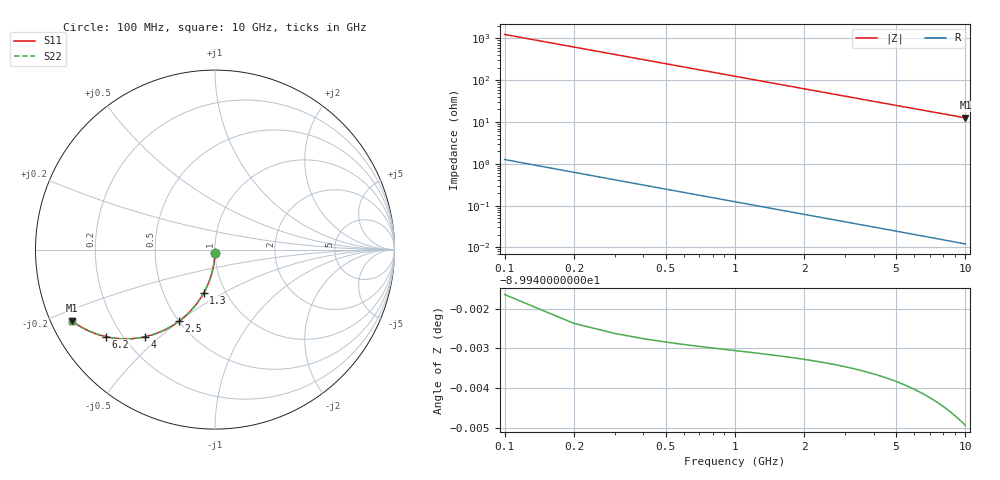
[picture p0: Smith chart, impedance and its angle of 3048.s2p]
# Hz S RI R 50.00
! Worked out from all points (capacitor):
!   100 points, 100 MHz to 10 GHz, reference 50 ohm
!   read as one part in shunt: C = 1.28 pF near 100 MHz
!   lowest |Z| = 12.6 ohm at 10 GHz (marker M1)
!   S11 on the Smith chart (normalised r, x): 100 MHz: 1.00, -0.04; 1.3 GHz: 0.79, -0.41; 2.5 GHz: 0.50, -0.50; 4 GHz: 0.28, -0.45; 6.2 GHz: 0.14, -0.34; 10 GHz: 0.06, -0.23
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1e8  -0.000405 -0.02  0.9996 -0.0201  0.9996 -0.0201  -0.000405 -0.02
2e8  -0.00163 -0.04  0.9983 -0.0402  0.9983 -0.0402  -0.00163 -0.04
3e8  -0.00365 -0.0599  0.9963 -0.0601  0.9963 -0.0601  -0.00365 -0.0599
4e8  -0.00646 -0.0796  0.9935 -0.0799  0.9935 -0.0799  -0.00646 -0.0796
5e8  -0.01 -0.0991  0.9899 -0.0995  0.9899 -0.0995  -0.01 -0.0991
6e8  -0.0144 -0.1184  0.9856 -0.1189  0.9856 -0.1189  -0.0144 -0.1184
8e8  -0.0253 -0.1561  0.9747 -0.1568  0.9747 -0.1568  -0.0253 -0.1561
1e9  -0.0389 -0.1924  0.9611 -0.1932  0.9611 -0.1932  -0.0389 -0.1924
1.3e9  -0.0639 -0.2435  0.9361 -0.2446  0.9361 -0.2446  -0.0639 -0.2435
1.5e9  -0.0832 -0.2751  0.9167 -0.2764  0.9167 -0.2764  -0.0832 -0.2751
1.8e9  -0.1155 -0.3184  0.8844 -0.32  0.8844 -0.32  -0.1155 -0.3184
2.1e9  -0.1509 -0.3565  0.8491 -0.3583  0.8491 -0.3583  -0.1509 -0.3565
2.5e9  -0.201 -0.3992  0.799 -0.4014  0.799 -0.4014  -0.201 -0.3992
2.9e9  -0.2527 -0.4328  0.7472 -0.4354  0.7472 -0.4354  -0.2527 -0.4328
3.4e9  -0.3172 -0.4634  0.6828 -0.4664  0.6828 -0.4664  -0.3172 -0.4634
4e9  -0.3911 -0.4857  0.6089 -0.4892  0.6089 -0.4892  -0.3911 -0.4857
5.1e9  -0.5103 -0.4972  0.4897 -0.5016  0.4897 -0.5016  -0.5103 -0.4972
6.2e9  -0.6059 -0.4854  0.394 -0.4909  0.394 -0.4909  -0.6059 -0.4854
6.7e9  -0.6421 -0.4759  0.3578 -0.4818  0.3578 -0.4818  -0.6421 -0.4759
7.5e9  -0.6919 -0.4579  0.308 -0.4645  0.308 -0.4645  -0.6919 -0.4579
8.4e9  -0.7378 -0.4356  0.2621 -0.443  0.2621 -0.443  -0.7378 -0.4356
1e10  -0.7993 -0.3955  0.2006 -0.4044  0.2006 -0.4044  -0.7993 -0.3955
